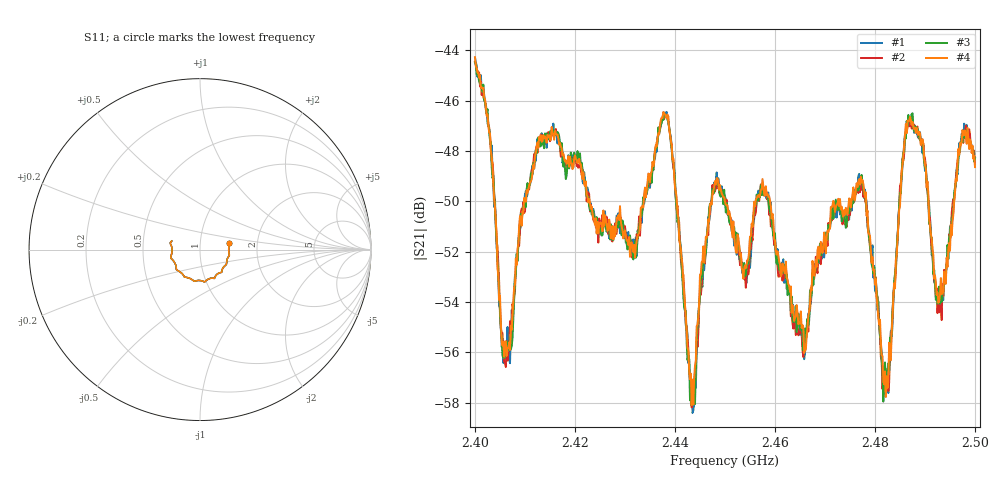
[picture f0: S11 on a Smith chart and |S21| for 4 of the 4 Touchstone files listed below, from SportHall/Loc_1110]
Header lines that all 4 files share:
# Hz S RI R
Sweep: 2.4 GHz to 2.5 GHz
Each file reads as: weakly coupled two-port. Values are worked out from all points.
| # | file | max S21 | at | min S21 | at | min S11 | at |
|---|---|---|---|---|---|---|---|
| 1 | Lab_139_1Ch1.s2p | -44.29 dB | 2.4 GHz | -58.4 dB | 2.4435 GHz | -15.7 dB | 2.4928 GHz |
| 2 | Lab_139_2Ch1.s2p | -44.47 dB | 2.4 GHz | -58.2 dB | 2.4433 GHz | -15.7 dB | 2.4928 GHz |
| 3 | Lab_139_6Ch1.s2p | -44.49 dB | 2.4 GHz | -58.1 dB | 2.4433 GHz | -15.7 dB | 2.493 GHz |
| 4 | Lab_139_10Ch1.s2p | -44.28 dB | 2.4 GHz | -58.1 dB | 2.4433 GHz | -15.7 dB | 2.493 GHz |
